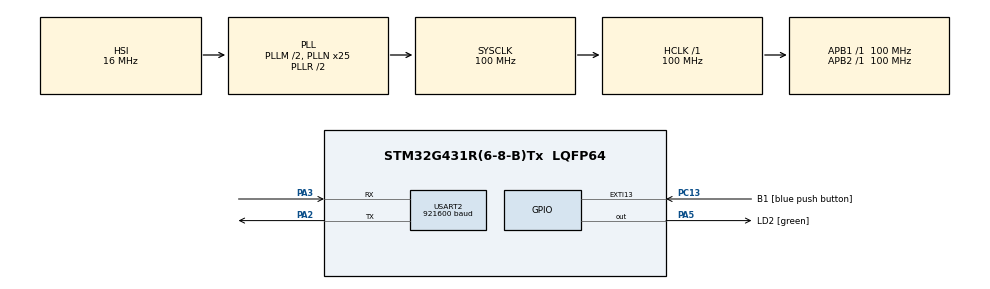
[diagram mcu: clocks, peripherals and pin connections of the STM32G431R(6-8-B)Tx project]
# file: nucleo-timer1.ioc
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Mcu.Family=STM32G4
Mcu.Name=STM32G431R(6-8-B)Tx
Mcu.Package=LQFP64
NVIC.EXTI15_10_IRQn=true\:0\:0\:false\:false\:true\:true\:true\:true
NVIC.PriorityGroup=NVIC_PRIORITYGROUP_4
NVIC.TIM2_IRQn=true\:0\:0\:false\:false\:true\:true\:true\:true
NVIC.USART2_IRQn=true\:0\:0\:false\:false\:true\:true\:true\:true
PA13.GPIO_Label=T_SWDIO
PA13.Signal=SYS_JTMS-SWDIO
PA14.GPIO_Label=T_SWCLK
PA14.Signal=SYS_JTCK-SWCLK
PA2.Mode=Asynchronous
PA2.Signal=USART2_TX
PA3.Mode=Asynchronous
PA3.Signal=USART2_RX
PA5.GPIO_Label=LD2 [green]
PA5.Signal=GPIO_Output
PB3.GPIO_Label=T_SWO
PB3.Signal=SYS_JTDO-SWO
PC13.GPIO_Label=B1 [blue push button]
PC13.GPIO_ModeDefaultEXTI=GPIO_MODE_IT_RISING
PC13.GPIO_PuPd=GPIO_PULLDOWN
PC13.Signal=GPXTI13
PC14-OSC32_IN.GPIO_Label=RCC_OSC32_OUT
PC14-OSC32_IN.Signal=RCC_OSC32_IN
PC15-OSC32_OUT.GPIO_Label=RCC_OSC32_OUT
PC15-OSC32_OUT.Signal=RCC_OSC32_OUT
PF0-OSC_IN.GPIO_Label=RCC_OSC_IN
PF0-OSC_IN.Signal=RCC_OSC_IN
PF1-OSC_OUT.GPIO_Label=RCC_OSC_OUT
PF1-OSC_OUT.Signal=RCC_OSC_OUT
ProjectManager.HeapSize=0x200
ProjectManager.StackSize=0x400
ProjectManager.TargetToolchain=STM32CubeIDE
RCC.ADC12Freq_Value=100000000
RCC.AHBFreq_Value=100000000
RCC.APB1Freq_Value=100000000
RCC.APB1TimFreq_Value=100000000
RCC.APB2Freq_Value=100000000
RCC.APB2TimFreq_Value=100000000
RCC.CortexFreq_Value=100000000
RCC.EXTERNAL_CLOCK_VALUE=12288000
RCC.HCLKFreq_Value=100000000
RCC.HSE_VALUE=24000000
RCC.HSI48_VALUE=48000000
RCC.HSI_VALUE=16000000
RCC.LSE_VALUE=32768
RCC.PLLM=RCC_PLLM_DIV2
RCC.PLLN=25
RCC.RTCClockSelection=RCC_RTCCLKSOURCE_LSE
RCC.SYSCLKFreq_VALUE=100000000
RCC.SYSCLKSource=RCC_SYSCLKSOURCE_PLLCLK
RCC.USBFreq_Value=100000000
RCC.VCOOutputFreq_Value=200000000
TIM2.PeriodNoDither=4999
TIM2.Prescaler=9999
USART2.BaudRate=921600
USART2.VirtualMode-Asynchronous=VM_ASYNC
VP_SYS_VS_DBSignals.Mode=DisableDeadBatterySignals
VP_TIM2_VS_ClockSourceINT.Mode=Internal
board=NUCLEO-G431RB

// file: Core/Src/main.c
/* USER CODE BEGIN Header */
/**
  ******************************************************************************
  * @file           : main.c
  * @brief          : Main program body
  ******************************************************************************
  * @attention
  *
  * Copyright (c) 2025 STMicroelectronics.
  * All rights reserved.
  *
  * This software is licensed under terms that can be found in the LICENSE file
  * in the root directory of this software component.
  * If no LICENSE file comes with this software, it is provided AS-IS.
  *
  ******************************************************************************
  */
/* USER CODE END Header */
#include "main.h"

/* USER CODE BEGIN Includes */
#include <stdio.h>

/* USER CODE END Includes */

/* USER CODE BEGIN PD */
#define TICK_DELAY 1000

/* USER CODE END PD */

TIM_HandleTypeDef htim2;

UART_HandleTypeDef huart2;

void SystemClock_Config(void);
static void MX_GPIO_Init(void);
static void MX_USART2_UART_Init(void);
static void MX_TIM2_Init(void);

/* USER CODE BEGIN 0 */

// Send printf to uart1
int _write(int fd, char* ptr, int len)
{
  HAL_StatusTypeDef hstatus;

  if (fd == 1 || fd == 2) {
    hstatus = HAL_UART_Transmit(&huart2, (uint8_t *) ptr, len, HAL_MAX_DELAY);
    if (hstatus == HAL_OK)
      return len;
    else
      return -1;
  }
  return -1;
}

void HAL_TIM_PeriodElapsedCallback(TIM_HandleTypeDef *htim)
{
	HAL_GPIO_TogglePin(GPIOA, GPIO_PIN_5);
}

/* USER CODE END 0 */

int main(void)
{

  /* MCU Configuration--------------------------------------------------------*/

  /* Reset of all peripherals, Initializes the Flash interface and the Systick. */
  HAL_Init();

  /* Configure the system clock */
  SystemClock_Config();

  /* Initialize all configured peripherals */
  MX_GPIO_Init();
  MX_USART2_UART_Init();
  MX_TIM2_Init();
  /* USER CODE BEGIN 2 */
  printf("Starting nucleo-timer1\n");

  HAL_TIM_Base_Start_IT(&htim2);

  /* USER CODE END 2 */

  /* Infinite loop */
  /* USER CODE BEGIN WHILE */

  uint32_t now = 0;
  uint32_t next_tick = TICK_DELAY;

  while (1)
  {
	  now = HAL_GetTick();

	  if(now >= next_tick) {
		  printf("Tick %lu\n", now / 1000);

		  next_tick = now + TICK_DELAY;
	  }
    /* USER CODE END WHILE */

  }
}

void SystemClock_Config(void)
{
  RCC_OscInitTypeDef RCC_OscInitStruct = {0};
  RCC_ClkInitTypeDef RCC_ClkInitStruct = {0};

  /** Configure the main internal regulator output voltage
  */
  HAL_PWREx_ControlVoltageScaling(PWR_REGULATOR_VOLTAGE_SCALE1);

  /** Initializes the RCC Oscillators according to the specified parameters
  * in the RCC_OscInitTypeDef structure.
  */
  RCC_OscInitStruct.OscillatorType = RCC_OSCILLATORTYPE_HSI;
  RCC_OscInitStruct.HSIState = RCC_HSI_ON;
  RCC_OscInitStruct.HSICalibrationValue = RCC_HSICALIBRATION_DEFAULT;
  RCC_OscInitStruct.PLL.PLLState = RCC_PLL_ON;
  RCC_OscInitStruct.PLL.PLLSource = RCC_PLLSOURCE_HSI;
  RCC_OscInitStruct.PLL.PLLM = RCC_PLLM_DIV2;
  RCC_OscInitStruct.PLL.PLLN = 25;
  RCC_OscInitStruct.PLL.PLLP = RCC_PLLP_DIV2;
  RCC_OscInitStruct.PLL.PLLQ = RCC_PLLQ_DIV2;
  RCC_OscInitStruct.PLL.PLLR = RCC_PLLR_DIV2;
  if (HAL_RCC_OscConfig(&RCC_OscInitStruct) != HAL_OK)
  {
    Error_Handler();
  }

  /** Initializes the CPU, AHB and APB buses clocks
  */
  RCC_ClkInitStruct.ClockType = RCC_CLOCKTYPE_HCLK|RCC_CLOCKTYPE_SYSCLK
                              |RCC_CLOCKTYPE_PCLK1|RCC_CLOCKTYPE_PCLK2;
  RCC_ClkInitStruct.SYSCLKSource = RCC_SYSCLKSOURCE_PLLCLK;
  RCC_ClkInitStruct.AHBCLKDivider = RCC_SYSCLK_DIV1;
  RCC_ClkInitStruct.APB1CLKDivider = RCC_HCLK_DIV1;
  RCC_ClkInitStruct.APB2CLKDivider = RCC_HCLK_DIV1;

  if (HAL_RCC_ClockConfig(&RCC_ClkInitStruct, FLASH_LATENCY_3) != HAL_OK)
  {
    Error_Handler();
  }
}

static void MX_TIM2_Init(void)
{

  TIM_ClockConfigTypeDef sClockSourceConfig = {0};
  TIM_MasterConfigTypeDef sMasterConfig = {0};

  htim2.Instance = TIM2;
  htim2.Init.Prescaler = 9999;
  htim2.Init.CounterMode = TIM_COUNTERMODE_UP;
  htim2.Init.Period = 4999;
  htim2.Init.ClockDivision = TIM_CLOCKDIVISION_DIV1;
  htim2.Init.AutoReloadPreload = TIM_AUTORELOAD_PRELOAD_DISABLE;
  if (HAL_TIM_Base_Init(&htim2) != HAL_OK)
  {
    Error_Handler();
  }
  sClockSourceConfig.ClockSource = TIM_CLOCKSOURCE_INTERNAL;
  if (HAL_TIM_ConfigClockSource(&htim2, &sClockSourceConfig) != HAL_OK)
  {
    Error_Handler();
  }
  sMasterConfig.MasterOutputTrigger = TIM_TRGO_RESET;
  sMasterConfig.MasterSlaveMode = TIM_MASTERSLAVEMODE_DISABLE;
  if (HAL_TIMEx_MasterConfigSynchronization(&htim2, &sMasterConfig) != HAL_OK)
  {
    Error_Handler();
  }

}

static void MX_USART2_UART_Init(void)
{

  huart2.Instance = USART2;
  huart2.Init.BaudRate = 921600;
  huart2.Init.WordLength = UART_WORDLENGTH_8B;
  huart2.Init.StopBits = UART_STOPBITS_1;
  huart2.Init.Parity = UART_PARITY_NONE;
  huart2.Init.Mode = UART_MODE_TX_RX;
  huart2.Init.HwFlowCtl = UART_HWCONTROL_NONE;
  huart2.Init.OverSampling = UART_OVERSAMPLING_16;
  huart2.Init.OneBitSampling = UART_ONE_BIT_SAMPLE_DISABLE;
  huart2.Init.ClockPrescaler = UART_PRESCALER_DIV1;
  huart2.AdvancedInit.AdvFeatureInit = UART_ADVFEATURE_NO_INIT;
  if (HAL_UART_Init(&huart2) != HAL_OK)
  {
    Error_Handler();
  }
  if (HAL_UARTEx_SetTxFifoThreshold(&huart2, UART_TXFIFO_THRESHOLD_1_8) != HAL_OK)
  {
    Error_Handler();
  }
  if (HAL_UARTEx_SetRxFifoThreshold(&huart2, UART_RXFIFO_THRESHOLD_1_8) != HAL_OK)
  {
    Error_Handler();
  }
  if (HAL_UARTEx_DisableFifoMode(&huart2) != HAL_OK)
  {
    Error_Handler();
  }

}

static void MX_GPIO_Init(void)
{
  GPIO_InitTypeDef GPIO_InitStruct = {0};

  /* GPIO Ports Clock Enable */
  __HAL_RCC_GPIOC_CLK_ENABLE();
  __HAL_RCC_GPIOF_CLK_ENABLE();
  __HAL_RCC_GPIOA_CLK_ENABLE();
  __HAL_RCC_GPIOB_CLK_ENABLE();

  /*Configure GPIO pin Output Level */
  HAL_GPIO_WritePin(LD2_GPIO_Port, LD2_Pin, GPIO_PIN_RESET);

  /*Configure GPIO pin : B1_Pin */
  GPIO_InitStruct.Pin = B1_Pin;
  GPIO_InitStruct.Mode = GPIO_MODE_IT_RISING;
  GPIO_InitStruct.Pull = GPIO_PULLDOWN;
  HAL_GPIO_Init(B1_GPIO_Port, &GPIO_InitStruct);

  /*Configure GPIO pin : LD2_Pin */
  GPIO_InitStruct.Pin = LD2_Pin;
  GPIO_InitStruct.Mode = GPIO_MODE_OUTPUT_PP;
  GPIO_InitStruct.Pull = GPIO_NOPULL;
  GPIO_InitStruct.Speed = GPIO_SPEED_FREQ_LOW;
  HAL_GPIO_Init(LD2_GPIO_Port, &GPIO_InitStruct);

  /* EXTI interrupt init*/
  HAL_NVIC_SetPriority(EXTI15_10_IRQn, 0, 0);
  HAL_NVIC_EnableIRQ(EXTI15_10_IRQn);

}

void Error_Handler(void)
{
  __disable_irq();
  while (1)
  {
  }
}
